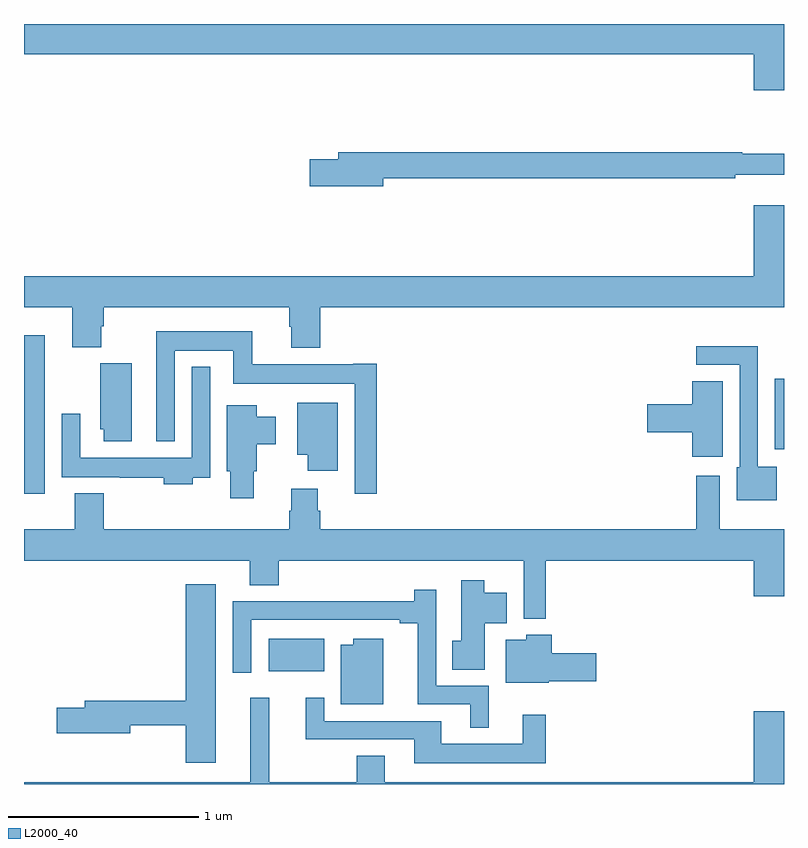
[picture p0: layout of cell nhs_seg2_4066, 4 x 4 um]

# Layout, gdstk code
import gdstk
lib = gdstk.Library(unit=1e-6, precision=1e-09)
def R(c, l, rs):  # rectangles x0, y0, x1, y1
    for r in rs: c.add(gdstk.rectangle(r[:2], r[2:], *l))
def P(c, l, *ps):  # polygons
    for p in ps: c.add(gdstk.Polygon(p, *l))
L2000_40 = (2000, 40)

nhs_seg2_4066 = lib.new_cell('nhs_seg2_4066')
R(nhs_seg2_4066, L2000_40, [(330.287,640.394,330.58,640.564), (332.951,641.562,333,641.932)])
P(nhs_seg2_4066, L2000_40, [(333,643.8),(329,643.8),(329,643.64),(332.84,643.64),(332.84,643.452),(333,643.452)],
  [(330.892,642.988),(332.744,642.988),(332.744,643.007),(333,643.007),(333,643.117),(332.78,643.117),(332.78,643.124),(330.653,643.124),(330.653,643.088),(330.504,643.088),(330.504,642.946),(330.892,642.946)],
  [(330.56,642.308),(333,642.308),(333,642.847),(332.84,642.847),(332.84,642.472),(329,642.472),(329,642.308),(329.255,642.308),(329.255,642.1),(329.407,642.1),(329.407,642.209),(329.42,642.209),(329.42,642.308),(330.395,642.308),(330.395,642.207),(330.407,642.207),(330.407,642.095),(330.56,642.095)],
  [(330.857,642.013),(330.734,642.013),(330.734,642.01),(330.2,642.01),(330.2,642.184),(329.696,642.184),(329.696,641.603),(329.793,641.603),(329.793,642.08),(330.102,642.08),(330.102,641.906),(330.741,641.906),(330.741,641.328),(330.857,641.328)],
  [(329.109,641.842),(329.11,641.842),(329.11,642.163),(329,642.163),(329,641.328),(329.109,641.328)],
  [(332.962,641.47),(332.862,641.47),(332.862,642.104),(332.538,642.104),(332.538,642.006),(332.766,642.006),(332.766,641.466),(332.75,641.466),(332.75,641.294),(332.962,641.294)],
  [(329.566,642.015),(329.402,642.015),(329.402,641.667),(329.42,641.667),(329.42,641.604),(329.566,641.604)],
  [(329.887,641.412),(329.979,641.412),(329.979,641.995),(329.883,641.995),(329.883,641.518),(329.295,641.518),(329.295,641.749),(329.199,641.749),(329.199,641.414),(329.503,641.414),(329.503,641.412),(329.735,641.412),(329.735,641.378),(329.887,641.378)],
  [(332.677,641.921),(332.516,641.921),(332.516,641.798),(332.28,641.798),(332.28,641.651),(332.516,641.651),(332.516,641.523),(332.677,641.523)],
  [(330.652,641.806),(330.437,641.806),(330.437,641.534),(330.494,641.534),(330.494,641.448),(330.652,641.448)],
  [(330.208,641.445),(330.226,641.445),(330.226,641.587),(330.325,641.587),(330.325,641.734),(330.226,641.734),(330.226,641.794),(330.068,641.794),(330.068,641.445),(330.086,641.445),(330.086,641.304),(330.208,641.304)],
  [(331.745,640.976),(332.84,640.976),(332.84,640.788),(333,640.788),(333,641.14),(332.662,641.14),(332.662,641.422),(332.537,641.422),(332.537,641.14),(330.56,641.14),(330.56,641.238),(330.547,641.238),(330.547,641.353),(330.407,641.353),(330.407,641.238),(330.395,641.238),(330.395,641.14),(329.42,641.14),(329.42,641.329),(329.267,641.329),(329.267,641.14),(329,641.14),(329,640.976),(330.188,640.976),(330.188,640.846),(330.341,640.846),(330.341,640.976),(331.629,640.976),(331.629,640.67),(331.745,640.67)],
  [(331.426,640.646),(331.54,640.646),(331.54,640.807),(331.423,640.807),(331.423,640.873),(331.301,640.873),(331.301,640.554),(331.255,640.554),(331.255,640.402),(331.426,640.402)],
  [(330.01,640.852),(329.852,640.852),(329.852,640.238),(329.321,640.238),(329.321,640.202),(329.172,640.202),(329.172,640.067),(329.56,640.067),(329.56,640.11),(329.852,640.11),(329.852,639.912),(330.01,639.912)],
  [(331.447,640.317),(331.17,640.317),(331.17,640.822),(331.054,640.822),(331.054,640.763),(330.424,640.763),(330.424,640.761),(330.099,640.761),(330.099,640.386),(330.195,640.386),(330.195,640.665),(330.977,640.665),(330.977,640.645),(331.073,640.645),(331.073,640.221),(331.349,640.221),(331.349,640.097),(331.447,640.097)],
  [(331.761,640.34),(332.011,640.34),(332.011,640.487),(331.778,640.487),(331.778,640.585),(331.644,640.585),(331.644,640.558),(331.535,640.558),(331.535,640.334),(331.761,640.334)],
  [(330.892,640.564),(330.734,640.564),(330.734,640.534),(330.668,640.534),(330.668,640.22),(330.892,640.22)],
  [(333,640.183),(332.84,640.183),(332.84,639.808),(330.898,639.808),(330.898,639.95),(330.751,639.95),(330.751,639.808),(330.29,639.808),(330.29,640.255),(330.191,640.255),(330.191,639.808),(329,639.808),(329,639.8),(333,639.8)],
  [(331.747,640.165),(331.625,640.165),(331.625,640.012),(331.195,640.012),(331.195,640.131),(330.579,640.131),(330.579,640.255),(330.482,640.255),(330.482,640.035),(331.055,640.035),(331.055,639.908),(331.747,639.908)])

lib.write_gds('nhs_seg2_4066.gds')
